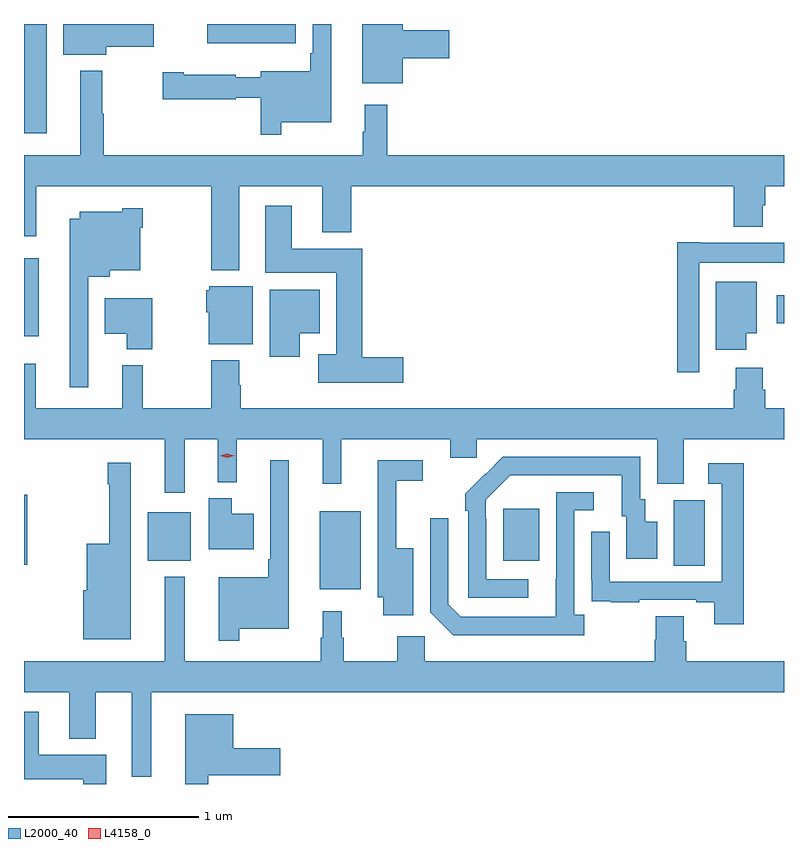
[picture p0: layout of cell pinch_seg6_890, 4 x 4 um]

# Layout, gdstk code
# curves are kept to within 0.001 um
import gdstk
lib = gdstk.Library(unit=1e-6, precision=1e-09)
def R(c, l, rs):  # rectangles x0, y0, x1, y1
    for r in rs: c.add(gdstk.rectangle(r[:2], r[2:], *l))
def P(c, l, *ps):  # polygons
    for p in ps: c.add(gdstk.Polygon(p, *l))
L2000_40 = (2000, 40)
L4158_0 = (4158, 0)

pinch_seg6_890 = lib.new_cell('pinch_seg6_890')
R(pinch_seg6_890, L2000_40, [(312.683,922.571,312.898,922.981), (314.546,922.696,314.71,923.04), (311.126,922.7,311.142,923.068), (311.777,922.721,312.004,922.975), (313.649,922.721,313.837,922.996), (311.126,923.903,311.203,924.313), (315.087,923.971,315.126,924.118), (311.126,924.971,311.245,925.546), (312.09,925.445,312.556,925.546)])
P(pinch_seg6_890, L2000_40, [(313.12,925.367),(313.363,925.367),(313.363,925.514),(313.12,925.514),(313.12,925.546),(312.905,925.546),(312.905,925.235),(313.12,925.235)],
  [(311.56,925.427),(311.809,925.427),(311.809,925.546),(311.333,925.546),(311.333,925.385),(311.56,925.385)],
  [(312.481,925.028),(312.742,925.028),(312.742,925.546),(312.645,925.546),(312.645,925.393),(312.633,925.393),(312.633,925.297),(312.371,925.297),(312.371,925.267),(312.24,925.267),(312.24,925.279),(311.968,925.279),(311.968,925.292),(311.856,925.292),(311.856,925.15),(312.24,925.15),(312.24,925.158),(312.371,925.158),(312.371,924.963),(312.481,924.963)],
  [(312.259,924.692),(312.695,924.692),(312.695,924.449),(312.848,924.449),(312.848,924.692),(314.861,924.692),(314.861,924.479),(315.013,924.479),(315.013,924.591),(315.026,924.591),(315.026,924.692),(315.126,924.692),(315.126,924.856),(313.037,924.856),(313.037,925.12),(312.92,925.12),(312.92,924.98),(312.909,924.98),(312.909,924.856),(311.545,924.856),(311.545,925.073),(311.537,925.073),(311.537,925.3),(311.423,925.3),(311.423,924.856),(311.126,924.856),(311.126,924.429),(311.19,924.429),(311.19,924.692),(312.112,924.692),(312.112,924.251),(312.259,924.251)],
  [(313.123,923.792),(312.905,923.792),(312.905,924.364),(312.535,924.364),(312.535,924.589),(312.395,924.589),(312.395,924.236),(312.77,924.236),(312.77,923.809),(312.675,923.809),(312.675,923.657),(313.123,923.657)],
  [(311.463,924.215),(311.578,924.215),(311.578,924.251),(311.737,924.251),(311.737,924.473),(311.751,924.473),(311.751,924.577),(311.643,924.577),(311.643,924.559),(311.42,924.559),(311.42,924.52),(311.366,924.52),(311.366,923.634),(311.463,923.634)],
  [(314.679,924.29),(315.126,924.29),(315.126,924.394),(314.686,924.394),(314.686,924.397),(314.563,924.397),(314.563,923.712),(314.679,923.712)],
  [(314.926,923.918),(314.983,923.918),(314.983,924.19),(314.768,924.19),(314.768,923.832),(314.926,923.832)],
  [(312.331,924.166),(312.102,924.166),(312.102,924.144),(312.086,924.144),(312.086,924.03),(312.098,924.03),(312.098,923.861),(312.331,923.861)],
  [(312.577,923.918),(312.682,923.918),(312.682,924.148),(312.419,924.148),(312.419,923.796),(312.577,923.796)],
  [(311.8,924.103),(311.552,924.103),(311.552,923.915),(311.666,923.915),(311.666,923.834),(311.8,923.834)],
  [(311.971,923.36),(312.146,923.36),(312.146,923.135),(312.245,923.135),(312.245,923.36),(312.698,923.36),(312.698,923.127),(312.797,923.127),(312.797,923.36),(313.37,923.36),(313.37,923.262),(313.509,923.262),(313.509,923.36),(314.459,923.36),(314.459,923.125),(314.599,923.125),(314.599,923.36),(315.126,923.36),(315.126,923.524),(315.026,923.524),(315.026,923.622),(315.013,923.622),(315.013,923.737),(314.873,923.737),(314.873,923.622),(314.861,923.622),(314.861,923.524),(312.267,923.524),(312.267,923.645),(312.259,923.645),(312.259,923.776),(312.112,923.776),(312.112,923.524),(311.752,923.524),(311.752,923.749),(311.642,923.749),(311.642,923.524),(311.189,923.524),(311.189,923.758),(311.126,923.758),(311.126,923.36),(311.867,923.36),(311.867,923.079),(311.971,923.079)],
  [(313.78,922.623),(313.56,922.623),(313.56,922.943),(313.557,922.943),(313.557,923.043),(313.686,923.172),(314.273,923.172),(314.273,922.956),(314.297,922.956),(314.297,922.731),(314.458,922.731),(314.458,922.927),(314.395,922.927),(314.395,923.046),(314.37,923.046),(314.37,923.268),(313.646,923.268),(313.449,923.073),(313.449,922.985),(313.464,922.985),(313.464,922.527),(313.78,922.527)],
  [(312.259,922.364),(312.52,922.364),(312.52,923.251),(312.423,923.251),(312.423,922.729),(312.411,922.729),(312.411,922.633),(312.15,922.633),(312.15,922.299),(312.259,922.299)],
  [(313.174,922.786),(313.085,922.786),(313.085,923.142),(313.225,923.142),(313.225,923.25),(312.987,923.25),(312.987,922.529),(313.016,922.529),(313.016,922.434),(313.174,922.434)],
  [(311.689,923.236),(311.568,923.236),(311.568,923.123),(311.575,923.123),(311.575,922.81),(311.456,922.81),(311.456,922.566),(311.438,922.566),(311.438,922.307),(311.689,922.307)],
  [(314.915,923.233),(314.727,923.233),(314.727,923.127),(314.799,923.127),(314.799,922.611),(314.208,922.611),(314.208,922.873),(314.112,922.873),(314.112,922.618),(314.113,922.618),(314.113,922.509),(314.215,922.509),(314.215,922.503),(314.363,922.503),(314.363,922.515),(314.663,922.515),(314.663,922.503),(314.759,922.503),(314.759,922.386),(314.915,922.386)],
  [(314.074,922.438),(314.022,922.438),(314.022,922.986),(314.125,922.986),(314.125,923.082),(313.926,923.082),(313.925,922.425),(313.425,922.425),(313.359,922.491),(313.359,922.945),(313.263,922.945),(313.263,922.449),(313.384,922.328),(314.074,922.328)],
  [(312.334,922.969),(312.22,922.969),(312.22,923.05),(312.098,923.05),(312.098,922.781),(312.334,922.781)],
  [(315.126,922.192),(314.612,922.192),(314.612,922.298),(314.599,922.298),(314.599,922.43),(314.452,922.43),(314.452,922.305),(314.447,922.305),(314.447,922.192),(313.236,922.192),(313.236,922.324),(313.09,922.324),(313.09,922.192),(312.808,922.192),(312.808,922.316),(312.798,922.316),(312.798,922.456),(312.698,922.456),(312.698,922.316),(312.687,922.316),(312.687,922.192),(311.971,922.192),(311.971,922.636),(311.867,922.636),(311.867,922.192),(311.126,922.192),(311.126,922.028),(311.363,922.028),(311.363,921.785),(311.503,921.785),(311.503,922.028),(311.693,922.028),(311.693,921.584),(311.797,921.584),(311.797,922.028),(315.126,922.028)],
  [(311.56,921.7),(311.203,921.7),(311.203,921.925),(311.126,921.925),(311.126,921.572),(311.438,921.572),(311.438,921.546),(311.56,921.546)],
  [(312.097,921.593),(312.475,921.593),(312.475,921.735),(312.226,921.735),(312.226,921.913),(311.975,921.913),(311.975,921.546),(312.097,921.546)])
P(pinch_seg6_890, L4158_0, [(312.196,923.263),(312.16,923.273),(312.16,923.273),(312.16,923.273),(312.196,923.283),(312.231,923.273),(312.232,923.273),(312.231,923.273)])

lib.write_gds('pinch_seg6_890.gds')
